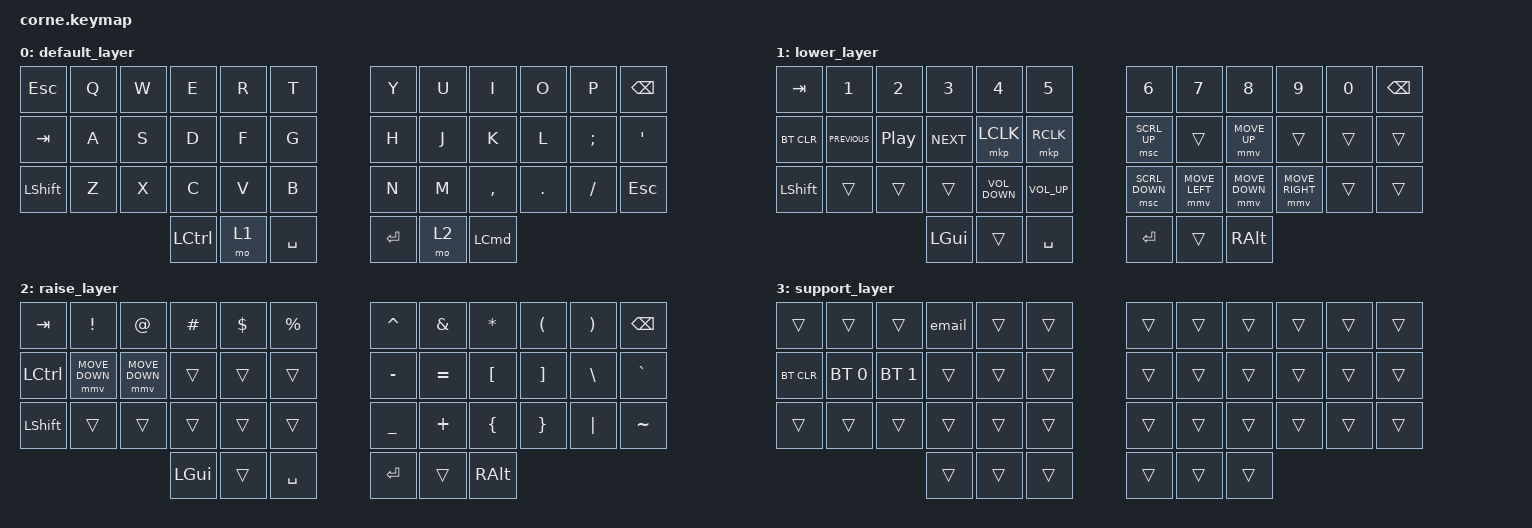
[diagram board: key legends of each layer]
/*
 * Copyright (c) 2020 The ZMK Contributors
 *
 * SPDX-License-Identifier: MIT
 */

#include <behaviors.dtsi>
#include <dt-bindings/zmk/bt.h>
#include <dt-bindings/zmk/keys.h>

//mouse config test
#define ZMK_POINTING_DEFAULT_MOVE_VAL 1500  // default: 600
#define ZMK_POINTING_DEFAULT_SCRL_VAL 20    // default: 10

#include <dt-bindings/zmk/pointing.h>


/ {
    macros {
        email: email {
            compatible = "zmk,behavior-macro";
            #binding-cells = <0>;
            bindings = <&kp R &kp U &kp A &kp N &kp A &kp L &kp B &kp E &kp R &kp T &kp O &kp S &kp I &kp L &kp V &kp A &kp AT &kp G &kp M &kp A &kp I &kp L &kp DOT &kp C &kp O &kp M>;
            label = "EMAIL";
        };
    };

    keymap {
        compatible = "zmk,keymap";

        default_layer {
            // -----------------------------------------------------------------------------------------
            // |  TAB |  Q  |  W  |  E  |  R  |  T  |   |  Y  |  U   |  I  |  O  |  P  | BSPC |
            // | CTRL |  A  |  S  |  D  |  F  |  G  |   |  H  |  J   |  K  |  L  |  ;  |  '   |
            // | SHFT |  Z  |  X  |  C  |  V  |  B  |   |  N  |  M   |  ,  |  .  |  /  | ESC  |
            //                    | GUI | LWR | SPC |   | ENT | RSE  | ALT |

            bindings = <
&kp ESCAPE  &kp Q  &kp W  &kp E             &kp R  &kp T        &kp Y    &kp U  &kp I             &kp O    &kp P     &kp BSPC
&kp TAB     &kp A  &kp S  &kp D             &kp F  &kp G        &kp H    &kp J  &kp K             &kp L    &kp SEMI  &kp SQT
&kp LSHFT   &kp Z  &kp X  &kp C             &kp V  &kp B        &kp N    &kp M  &kp COMMA         &kp DOT  &kp FSLH  &kp ESC
                          &kp LEFT_CONTROL  &mo 1  &kp SPACE    &kp RET  &mo 2  &kp LEFT_COMMAND
            >;
        };

        lower_layer {
            // -----------------------------------------------------------------------------------------
            // |  TAB |  1  |  2  |  3  |  4  |  5  |   |  6  |  7  |  8  |  9  |  0  | BSPC |
            // | BTCLR| BT1 | BT2 | BT3 | BT4 | BT5 |   | LFT | DWN |  UP | RGT |     |      |
            // | SHFT |     |     |     |     |     |   |     |     |     |     |     |      |
            //                    | GUI |     | SPC |   | ENT |     | ALT |

            bindings = <
&kp TAB     &kp N1          &kp N2    &kp N3      &kp N4             &kp N5             &kp N6          &kp N7          &kp N8          &kp N9           &kp N0  &kp BSPC
&bt BT_CLR  &kp C_PREVIOUS  &kp C_PP  &kp C_NEXT  &mkp LCLK          &mkp RCLK          &msc SCRL_UP    &trans          &mmv MOVE_UP    &trans           &trans  &trans
&kp LSHFT   &trans          &trans    &trans      &kp C_VOLUME_DOWN  &kp C_VOLUME_UP    &msc SCRL_DOWN  &mmv MOVE_LEFT  &mmv MOVE_DOWN  &mmv MOVE_RIGHT  &trans  &trans
                                      &kp LGUI    &trans             &kp SPACE          &kp RET         &trans          &kp RALT
            >;
        };

        raise_layer {
            // -----------------------------------------------------------------------------------------
            // |  TAB |  !  |  @  |  #  |  $  |  %  |   |  ^  |  &  |  *  |  (  |  )  | BSPC |
            // | CTRL |     |     |     |     |     |   |  -  |  =  |  [  |  ]  |  \  |  `   |
            // | SHFT |     |     |     |     |     |   |  _  |  +  |  {  |  }  | "|" |  ~   |
            //                    | GUI |     | SPC |   | ENT |     | ALT |

            bindings = <
&kp TAB    &kp EXCL        &kp AT          &kp HASH  &kp DLLR  &kp PRCNT    &kp CARET  &kp AMPS   &kp ASTRK  &kp LPAR  &kp RPAR  &kp BSPC
&kp LCTRL  &mmv MOVE_DOWN  &mmv MOVE_DOWN  &trans    &trans    &trans       &kp MINUS  &kp EQUAL  &kp LBKT   &kp RBKT  &kp BSLH  &kp GRAVE
&kp LSHFT  &trans          &trans          &trans    &trans    &trans       &kp UNDER  &kp PLUS   &kp LBRC   &kp RBRC  &kp PIPE  &kp TILDE
                                           &kp LGUI  &trans    &kp SPACE    &kp RET    &trans     &kp RALT
            >;
        };

        support_layer {
            bindings = <
&trans      &trans        &trans        &email  &trans  &trans    &trans  &trans  &trans  &trans  &trans  &trans
&bt BT_CLR  &bt BT_SEL 0  &bt BT_SEL 1  &trans  &trans  &trans    &trans  &trans  &trans  &trans  &trans  &trans
&trans      &trans        &trans        &trans  &trans  &trans    &trans  &trans  &trans  &trans  &trans  &trans
                                        &trans  &trans  &trans    &trans  &trans  &trans
            >;
        };
    };

    conditional_layers {
        compatible = "zmk,conditional-layers";

        support_layer_condition {
            if-layers = <1 2>;
            then-layer = <3>;
        };
    };
};
